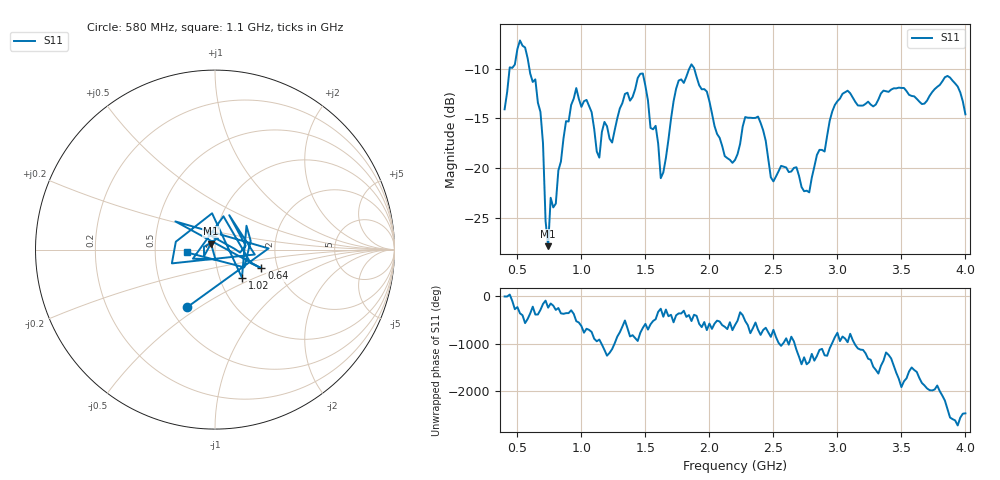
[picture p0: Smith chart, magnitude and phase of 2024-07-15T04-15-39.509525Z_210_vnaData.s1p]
!Created with skrf (http://scikit-rf.org).
# Hz S RI R 50.0
!freq ReS11 ImS11
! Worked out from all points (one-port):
!   181 points, 400 MHz to 4 GHz, reference 50 ohm
!   lowest |S11| = -27.9 dB at 740 MHz (marker M1), VSWR 1.08, Z = 47.7 + j3.23 ohm
!   |S11| at or under -10 dB: start of sweep to 439 MHz; 593.5 MHz to 1.844 GHz (1.25 GHz wide, 103 % of centre); 1.881 GHz to end of sweep
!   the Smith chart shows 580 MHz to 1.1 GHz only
!   S11 on the Smith chart (normalised r, x): 580 MHz: 0.61, -0.45; 640 MHz: 1.65, -0.37; 1.02 GHz: 1.28, -0.42; 1.1 GHz: 0.73, -0.02
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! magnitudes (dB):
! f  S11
! 400 MHz  -14.1
! 520 MHz  -7.2
! 580 MHz  -9.0
! 640 MHz  -11.1
! 700 MHz  -17.5
! 720 MHz  -25.3
! 740 MHz  -27.9
! 760 MHz  -23.0
! 800 MHz  -23.6
! 860 MHz  -17.0
! 960 MHz  -12.0
! 1.02 GHz  -13.3
! 1.1 GHz  -16.1
! 1.14 GHz  -19.0
! 1.3 GHz  -14.0
! 1.48 GHz  -10.5
! 1.62 GHz  -21.0
! 1.76 GHz  -11.2
! 1.88 GHz  -9.9
! 2.2 GHz  -19.2
! 2.38 GHz  -14.8
! 2.5 GHz  -21.3
! 2.66 GHz  -20.0
! 2.78 GHz  -22.4
! 3.1 GHz  -12.5
! 3.56 GHz  -12.6
! 3.86 GHz  -10.7
! 4 GHz  -14.6
